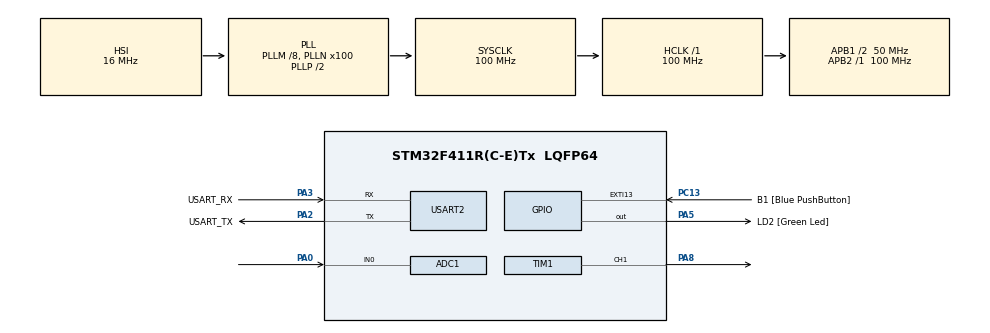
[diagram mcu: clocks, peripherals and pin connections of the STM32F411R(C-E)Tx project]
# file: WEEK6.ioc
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ADC1.Channel-2\#ChannelRegularConversion=ADC_CHANNEL_0
ADC1.EnableAnalogWatchDog=false
ADC1.ExternalTrigConv=ADC_EXTERNALTRIGCONV_T3_TRGO
ADC1.InjNumberOfConversion=0
ADC1.NbrOfConversionFlag=1
ADC1.Rank-2\#ChannelRegularConversion=1
ADC1.SamplingTime-2\#ChannelRegularConversion=ADC_SAMPLETIME_3CYCLES
ADC1.master=1
Mcu.Family=STM32F4
Mcu.Name=STM32F411R(C-E)Tx
Mcu.Package=LQFP64
NVIC.ADC_IRQn=true\:0\:0\:false\:false\:true\:true\:true
NVIC.PriorityGroup=NVIC_PRIORITYGROUP_0
NVIC.TIM1_TRG_COM_TIM11_IRQn=true\:0\:0\:false\:false\:true\:true\:true
PA0-WKUP.Signal=ADCx_IN0
PA13.GPIO_Label=TMS
PA13.Mode=Serial_Wire
PA13.Signal=SYS_JTMS-SWDIO
PA14.GPIO_Label=TCK
PA14.Mode=Serial_Wire
PA14.Signal=SYS_JTCK-SWCLK
PA2.GPIO_Label=USART_TX
PA2.Mode=Asynchronous
PA2.Signal=USART2_TX
PA3.GPIO_Label=USART_RX
PA3.Mode=Asynchronous
PA3.Signal=USART2_RX
PA5.GPIO_Label=LD2 [Green Led]
PA5.Signal=GPIO_Output
PA8.Signal=S_TIM1_CH1
PB3.GPIO_Label=SWO
PB3.Signal=SYS_JTDO-SWO
PC13-ANTI_TAMP.GPIO_Label=B1 [Blue PushButton]
PC13-ANTI_TAMP.GPIO_ModeDefaultEXTI=GPIO_MODE_IT_FALLING
PC13-ANTI_TAMP.Signal=GPXTI13
PC14-OSC32_IN.Mode=LSE-External-Oscillator
PC14-OSC32_IN.Signal=RCC_OSC32_IN
PC15-OSC32_OUT.Mode=LSE-External-Oscillator
PC15-OSC32_OUT.Signal=RCC_OSC32_OUT
PH0\ -\ OSC_IN.Mode=HSE-External-Clock-Source
PH0\ -\ OSC_IN.Signal=RCC_OSC_IN
PH1\ -\ OSC_OUT.Mode=HSE-External-Clock-Source
PH1\ -\ OSC_OUT.Signal=RCC_OSC_OUT
ProjectManager.HeapSize=0x200
ProjectManager.StackSize=0x400
ProjectManager.TargetToolchain=STM32CubeIDE
RCC.48MHZClocksFreq_Value=50000000
RCC.AHBFreq_Value=100000000
RCC.APB1CLKDivider=RCC_HCLK_DIV2
RCC.APB1Freq_Value=50000000
RCC.APB1TimFreq_Value=100000000
RCC.APB2Freq_Value=100000000
RCC.APB2TimFreq_Value=100000000
RCC.CortexFreq_Value=100000000
RCC.FLatency-AdvancedSettings=FLASH_LATENCY_3
RCC.HCLKFreq_Value=100000000
RCC.HSE_VALUE=8000000
RCC.HSI_VALUE=16000000
RCC.PLLM=8
RCC.PLLN=100
RCC.SYSCLKFreq_VALUE=100000000
RCC.SYSCLKSource=RCC_SYSCLKSOURCE_PLLCLK
RCC.VCOOutputFreq_Value=200000000
SH.ADCx_IN0.0=ADC1_IN0,IN0
SH.S_TIM1_CH1.0=TIM1_CH1,PWM Generation1 CH1
TIM1.Channel-PWM\ Generation1\ CH1=TIM_CHANNEL_1
TIM1.Period=10000
TIM11.Prescaler=99
TIM3.Period=1000
TIM3.Prescaler=99
TIM3.TIM_MasterOutputTrigger=TIM_TRGO_UPDATE
USART2.VirtualMode=VM_ASYNC
VP_TIM11_VS_ClockSourceINT.Mode=Enable_Timer
VP_TIM1_VS_ClockSourceINT.Mode=Internal
VP_TIM3_VS_ClockSourceINT.Mode=Internal
board=NUCLEO-F411RE

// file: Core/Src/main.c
/* USER CODE BEGIN Header */
/**
 ******************************************************************************
 * @file           : main.c
 * @brief          : Main program body
 ******************************************************************************
 * @attention
 *
 * <h2><center>&copy; Copyright (c) 2021 STMicroelectronics.
 * All rights reserved.</center></h2>
 *
 * This software component is licensed by ST under BSD 3-Clause license,
 * the "License"; You may not use this file except in compliance with the
 * License. You may obtain a copy of the License at:
 *                        opensource.org/licenses/BSD-3-Clause
 *
 ******************************************************************************
 */
/* USER CODE END Header */
#include "main.h"

ADC_HandleTypeDef hadc1;

TIM_HandleTypeDef htim1;
TIM_HandleTypeDef htim3;
TIM_HandleTypeDef htim11;

UART_HandleTypeDef huart2;

/* USER CODE BEGIN PV */

uint8_t ADCUpdateFlag = 0;
uint16_t ADCFeedBack = 0;

uint16_t PWMOut = 10000;

uint64_t _micro = 0;
uint64_t TimeOutputLoop = 0;
float volt = 0;
float resistant = 0;
float vin = 0;
/* USER CODE END PV */

void SystemClock_Config(void);
static void MX_GPIO_Init(void);
static void MX_USART2_UART_Init(void);
static void MX_ADC1_Init(void);
static void MX_TIM1_Init(void);
static void MX_TIM3_Init(void);
static void MX_TIM11_Init(void);
/* USER CODE BEGIN PFP */
uint64_t micros();
/* USER CODE END PFP */

int main(void)
{

  /* MCU Configuration--------------------------------------------------------*/

  /* Reset of all peripherals, Initializes the Flash interface and the Systick. */
  HAL_Init();

  /* Configure the system clock */
  SystemClock_Config();

  /* Initialize all configured peripherals */
  MX_GPIO_Init();
  MX_USART2_UART_Init();
  MX_ADC1_Init();
  MX_TIM1_Init();
  MX_TIM3_Init();
  MX_TIM11_Init();
  /* USER CODE BEGIN 2 */
	HAL_ADC_Start_IT(&hadc1);
	HAL_TIM_Base_Start(&htim3);

	HAL_TIM_Base_Start(&htim1);
	HAL_TIM_PWM_Start(&htim1, TIM_CHANNEL_1);

	HAL_TIM_Base_Start_IT(&htim11);

  /* USER CODE END 2 */

  /* Infinite loop */
	while (1) {

    /* USER CODE BEGIN 3 */

		//1 Khz Loop
		if (micros() - TimeOutputLoop > 1000) {
			TimeOutputLoop = micros();
			// #001

			__HAL_TIM_SET_COMPARE(&htim1, TIM_CHANNEL_1, PWMOut);

		}

		if (ADCUpdateFlag) {
			ADCUpdateFlag = 0;
			//#002
		}

	}
  /* USER CODE END 3 */
}

void SystemClock_Config(void)
{
  RCC_OscInitTypeDef RCC_OscInitStruct = {0};
  RCC_ClkInitTypeDef RCC_ClkInitStruct = {0};

  /** Configure the main internal regulator output voltage
  */
  __HAL_RCC_PWR_CLK_ENABLE();
  __HAL_PWR_VOLTAGESCALING_CONFIG(PWR_REGULATOR_VOLTAGE_SCALE1);
  /** Initializes the RCC Oscillators according to the specified parameters
  * in the RCC_OscInitTypeDef structure.
  */
  RCC_OscInitStruct.OscillatorType = RCC_OSCILLATORTYPE_HSI;
  RCC_OscInitStruct.HSIState = RCC_HSI_ON;
  RCC_OscInitStruct.HSICalibrationValue = RCC_HSICALIBRATION_DEFAULT;
  RCC_OscInitStruct.PLL.PLLState = RCC_PLL_ON;
  RCC_OscInitStruct.PLL.PLLSource = RCC_PLLSOURCE_HSI;
  RCC_OscInitStruct.PLL.PLLM = 8;
  RCC_OscInitStruct.PLL.PLLN = 100;
  RCC_OscInitStruct.PLL.PLLP = RCC_PLLP_DIV2;
  RCC_OscInitStruct.PLL.PLLQ = 4;
  if (HAL_RCC_OscConfig(&RCC_OscInitStruct) != HAL_OK)
  {
    Error_Handler();
  }
  /** Initializes the CPU, AHB and APB buses clocks
  */
  RCC_ClkInitStruct.ClockType = RCC_CLOCKTYPE_HCLK|RCC_CLOCKTYPE_SYSCLK
                              |RCC_CLOCKTYPE_PCLK1|RCC_CLOCKTYPE_PCLK2;
  RCC_ClkInitStruct.SYSCLKSource = RCC_SYSCLKSOURCE_PLLCLK;
  RCC_ClkInitStruct.AHBCLKDivider = RCC_SYSCLK_DIV1;
  RCC_ClkInitStruct.APB1CLKDivider = RCC_HCLK_DIV2;
  RCC_ClkInitStruct.APB2CLKDivider = RCC_HCLK_DIV1;

  if (HAL_RCC_ClockConfig(&RCC_ClkInitStruct, FLASH_LATENCY_3) != HAL_OK)
  {
    Error_Handler();
  }
}

static void MX_ADC1_Init(void)
{

  ADC_ChannelConfTypeDef sConfig = {0};

  /** Configure the global features of the ADC (Clock, Resolution, Data Alignment and number of conversion)
  */
  hadc1.Instance = ADC1;
  hadc1.Init.ClockPrescaler = ADC_CLOCK_SYNC_PCLK_DIV4;
  hadc1.Init.Resolution = ADC_RESOLUTION_12B;
  hadc1.Init.ScanConvMode = DISABLE;
  hadc1.Init.ContinuousConvMode = DISABLE;
  hadc1.Init.DiscontinuousConvMode = DISABLE;
  hadc1.Init.ExternalTrigConvEdge = ADC_EXTERNALTRIGCONVEDGE_RISING;
  hadc1.Init.ExternalTrigConv = ADC_EXTERNALTRIGCONV_T3_TRGO;
  hadc1.Init.DataAlign = ADC_DATAALIGN_RIGHT;
  hadc1.Init.NbrOfConversion = 1;
  hadc1.Init.DMAContinuousRequests = DISABLE;
  hadc1.Init.EOCSelection = ADC_EOC_SINGLE_CONV;
  if (HAL_ADC_Init(&hadc1) != HAL_OK)
  {
    Error_Handler();
  }
  /** Configure for the selected ADC regular channel its corresponding rank in the sequencer and its sample time.
  */
  sConfig.Channel = ADC_CHANNEL_0;
  sConfig.Rank = 1;
  sConfig.SamplingTime = ADC_SAMPLETIME_3CYCLES;
  if (HAL_ADC_ConfigChannel(&hadc1, &sConfig) != HAL_OK)
  {
    Error_Handler();
  }

}

static void MX_TIM1_Init(void)
{

  TIM_ClockConfigTypeDef sClockSourceConfig = {0};
  TIM_MasterConfigTypeDef sMasterConfig = {0};
  TIM_OC_InitTypeDef sConfigOC = {0};
  TIM_BreakDeadTimeConfigTypeDef sBreakDeadTimeConfig = {0};

  htim1.Instance = TIM1;
  htim1.Init.Prescaler = 0;
  htim1.Init.CounterMode = TIM_COUNTERMODE_UP;
  htim1.Init.Period = 10000;
  htim1.Init.ClockDivision = TIM_CLOCKDIVISION_DIV1;
  htim1.Init.RepetitionCounter = 0;
  htim1.Init.AutoReloadPreload = TIM_AUTORELOAD_PRELOAD_DISABLE;
  if (HAL_TIM_Base_Init(&htim1) != HAL_OK)
  {
    Error_Handler();
  }
  sClockSourceConfig.ClockSource = TIM_CLOCKSOURCE_INTERNAL;
  if (HAL_TIM_ConfigClockSource(&htim1, &sClockSourceConfig) != HAL_OK)
  {
    Error_Handler();
  }
  if (HAL_TIM_PWM_Init(&htim1) != HAL_OK)
  {
    Error_Handler();
  }
  sMasterConfig.MasterOutputTrigger = TIM_TRGO_RESET;
  sMasterConfig.MasterSlaveMode = TIM_MASTERSLAVEMODE_DISABLE;
  if (HAL_TIMEx_MasterConfigSynchronization(&htim1, &sMasterConfig) != HAL_OK)
  {
    Error_Handler();
  }
  sConfigOC.OCMode = TIM_OCMODE_PWM1;
  sConfigOC.Pulse = 0;
  sConfigOC.OCPolarity = TIM_OCPOLARITY_HIGH;
  sConfigOC.OCNPolarity = TIM_OCNPOLARITY_HIGH;
  sConfigOC.OCFastMode = TIM_OCFAST_DISABLE;
  sConfigOC.OCIdleState = TIM_OCIDLESTATE_RESET;
  sConfigOC.OCNIdleState = TIM_OCNIDLESTATE_RESET;
  if (HAL_TIM_PWM_ConfigChannel(&htim1, &sConfigOC, TIM_CHANNEL_1) != HAL_OK)
  {
    Error_Handler();
  }
  sBreakDeadTimeConfig.OffStateRunMode = TIM_OSSR_DISABLE;
  sBreakDeadTimeConfig.OffStateIDLEMode = TIM_OSSI_DISABLE;
  sBreakDeadTimeConfig.LockLevel = TIM_LOCKLEVEL_OFF;
  sBreakDeadTimeConfig.DeadTime = 0;
  sBreakDeadTimeConfig.BreakState = TIM_BREAK_DISABLE;
  sBreakDeadTimeConfig.BreakPolarity = TIM_BREAKPOLARITY_HIGH;
  sBreakDeadTimeConfig.AutomaticOutput = TIM_AUTOMATICOUTPUT_DISABLE;
  if (HAL_TIMEx_ConfigBreakDeadTime(&htim1, &sBreakDeadTimeConfig) != HAL_OK)
  {
    Error_Handler();
  }
  HAL_TIM_MspPostInit(&htim1);

}

static void MX_TIM3_Init(void)
{

  TIM_ClockConfigTypeDef sClockSourceConfig = {0};
  TIM_MasterConfigTypeDef sMasterConfig = {0};

  htim3.Instance = TIM3;
  htim3.Init.Prescaler = 99;
  htim3.Init.CounterMode = TIM_COUNTERMODE_UP;
  htim3.Init.Period = 1000;
  htim3.Init.ClockDivision = TIM_CLOCKDIVISION_DIV1;
  htim3.Init.AutoReloadPreload = TIM_AUTORELOAD_PRELOAD_DISABLE;
  if (HAL_TIM_Base_Init(&htim3) != HAL_OK)
  {
    Error_Handler();
  }
  sClockSourceConfig.ClockSource = TIM_CLOCKSOURCE_INTERNAL;
  if (HAL_TIM_ConfigClockSource(&htim3, &sClockSourceConfig) != HAL_OK)
  {
    Error_Handler();
  }
  sMasterConfig.MasterOutputTrigger = TIM_TRGO_UPDATE;
  sMasterConfig.MasterSlaveMode = TIM_MASTERSLAVEMODE_DISABLE;
  if (HAL_TIMEx_MasterConfigSynchronization(&htim3, &sMasterConfig) != HAL_OK)
  {
    Error_Handler();
  }

}

static void MX_TIM11_Init(void)
{

  htim11.Instance = TIM11;
  htim11.Init.Prescaler = 99;
  htim11.Init.CounterMode = TIM_COUNTERMODE_UP;
  htim11.Init.Period = 65535;
  htim11.Init.ClockDivision = TIM_CLOCKDIVISION_DIV1;
  htim11.Init.AutoReloadPreload = TIM_AUTORELOAD_PRELOAD_DISABLE;
  if (HAL_TIM_Base_Init(&htim11) != HAL_OK)
  {
    Error_Handler();
  }

}

static void MX_USART2_UART_Init(void)
{

  huart2.Instance = USART2;
  huart2.Init.BaudRate = 115200;
  huart2.Init.WordLength = UART_WORDLENGTH_8B;
  huart2.Init.StopBits = UART_STOPBITS_1;
  huart2.Init.Parity = UART_PARITY_NONE;
  huart2.Init.Mode = UART_MODE_TX_RX;
  huart2.Init.HwFlowCtl = UART_HWCONTROL_NONE;
  huart2.Init.OverSampling = UART_OVERSAMPLING_16;
  if (HAL_UART_Init(&huart2) != HAL_OK)
  {
    Error_Handler();
  }

}

static void MX_GPIO_Init(void)
{
  GPIO_InitTypeDef GPIO_InitStruct = {0};

  /* GPIO Ports Clock Enable */
  __HAL_RCC_GPIOC_CLK_ENABLE();
  __HAL_RCC_GPIOH_CLK_ENABLE();
  __HAL_RCC_GPIOA_CLK_ENABLE();
  __HAL_RCC_GPIOB_CLK_ENABLE();

  /*Configure GPIO pin Output Level */
  HAL_GPIO_WritePin(LD2_GPIO_Port, LD2_Pin, GPIO_PIN_RESET);

  /*Configure GPIO pin : B1_Pin */
  GPIO_InitStruct.Pin = B1_Pin;
  GPIO_InitStruct.Mode = GPIO_MODE_IT_FALLING;
  GPIO_InitStruct.Pull = GPIO_NOPULL;
  HAL_GPIO_Init(B1_GPIO_Port, &GPIO_InitStruct);

  /*Configure GPIO pin : LD2_Pin */
  GPIO_InitStruct.Pin = LD2_Pin;
  GPIO_InitStruct.Mode = GPIO_MODE_OUTPUT_PP;
  GPIO_InitStruct.Pull = GPIO_NOPULL;
  GPIO_InitStruct.Speed = GPIO_SPEED_FREQ_LOW;
  HAL_GPIO_Init(LD2_GPIO_Port, &GPIO_InitStruct);

}

/* USER CODE BEGIN 4 */

void HAL_ADC_ConvCpltCallback(ADC_HandleTypeDef *hadc) {
	ADCFeedBack = HAL_ADC_GetValue(&hadc1);
	ADCUpdateFlag = 1;
	volt = ADCFeedBack * 3.3 / 4096;
	resistant = (2-(volt*3/(3.3*PWMOut/10000)))*1000 ;
	vin = 3000/(2000-resistant);
	PWMOut = vin/3.3*10000;

}
void HAL_TIM_PeriodElapsedCallback(TIM_HandleTypeDef *htim) {
	if (htim == &htim11) {
		_micro += 65535;
	}
}

__inline__ uint64_t micros() {
	return _micro + htim11.Instance->CNT;
}
/* USER CODE END 4 */

void Error_Handler(void)
{
	__disable_irq();
	while (1) {
	}
}

/************************ (C) COPYRIGHT STMicroelectronics *****END OF FILE****/
